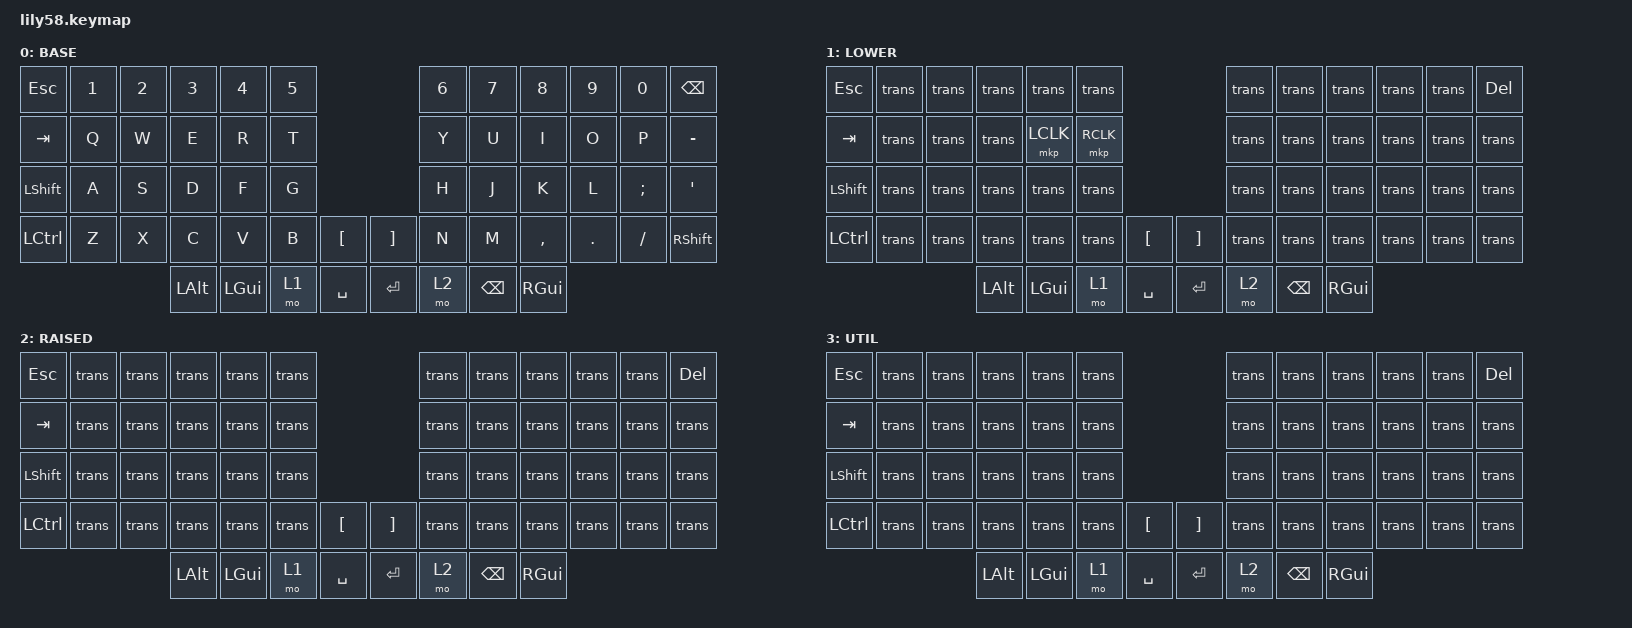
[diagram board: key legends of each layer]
/*
 * Copyright (c) 2020 The ZMK Contributors
 *
 * SPDX-License-Identifier: MIT
 */

#include <behaviors.dtsi>
#include <dt-bindings/zmk/keys.h>
#include <dt-bindings/zmk/bt.h>
#include <dt-bindings/zmk/ext_power.h>
#include <dt-bindings/zmk/pointing.h>

/ {
    keymap {
        compatible = "zmk,keymap";
        default_layer {
        display-name= "BASE";
// ------------------------------------------------------------------------------------------------------------
// |  ESC  |  1  |  2  |  3   |  4   |  5   |                   |  6   |  7    |  8    |  9   |   0   | BSPC  |
// |  TAB  |  Q  |  W  |  E   |  R   |  T   |                   |  Y   |  U    |  I    |  O   |   P   |   -   |
// |  SHFT |  A  |  S  |  D   |  F   |  G   |                   |  H   |  J    |  K    |  L   |   ;   |   '   |
// |  CTRL |  Z  |  X  |  C   |  V   |  B   |   "["  |  |  "]"  |  N   |  M    |  ,    |  .   |   /   | SHIFT |
//                     | ALT  | GUI  | LOWER|  SPACE |  | ENTER | RAISE| BSPC  | GUI   |
            bindings = <
&kp ESC   &kp N1 &kp N2 &kp N3   &kp N4   &kp N5                     &kp N6 &kp N7   &kp N8    &kp N9  &kp N0   &kp BSPC
&kp TAB   &kp Q  &kp W  &kp E    &kp R    &kp T                      &kp Y  &kp U    &kp I     &kp O   &kp P    &kp MINUS
&kp LSHFT &kp A  &kp S  &kp D    &kp F    &kp G                      &kp H  &kp J    &kp K     &kp L   &kp SEMI &kp SQT
&kp LCTRL &kp Z  &kp X  &kp C    &kp V    &kp B  &kp LBKT   &kp RBKT &kp N  &kp M    &kp COMMA &kp DOT &kp FSLH &kp RSHFT
                        &kp LALT &kp LGUI &mo 1  &kp SPACE  &kp RET  &mo 2  &kp BSPC &kp RGUI
            >;
        };

        lower_layer {
        display-name= "LOWER";
// ------------------------------------------------------------------------------------------------------------
// |  ESC  |     |     |      |      |      |                   |      |       |       |      |       |  DEL  |
// |  TAB  |     |     |      |      |      |                   |      |       |       |      |       |       |
// |  SHFT |     |     |      |      |      |                   |      |       |       |      |       |       |
// |  CTRL |     |     |      |      |      |   "["  |  |  "]"  |      |       |       |      |       |       |
//                     | ALT  | GUI  | LOWER|  SPACE |  | ENTER | RAISE| BSPC  | GUI   |
            bindings = <
&kp ESC   &kp trans  &kp trans  &kp trans  &kp trans  &kp trans                      &kp trans  &kp trans  &kp trans  &kp trans  &kp trans  &kp DEL
&kp TAB   &kp trans  &kp trans  &kp trans  &mkp LCLK  &mkp RCLK                      &kp trans  &kp trans  &kp trans  &kp trans  &kp trans  &kp trans
&kp LSHFT &kp trans  &kp trans  &kp trans  &kp trans  &kp trans                      &kp trans  &kp trans  &kp trans  &kp trans  &kp trans  &kp trans
&kp LCTRL &kp trans  &kp trans  &kp trans  &kp trans  &kp trans  &kp LBKT   &kp RBKT &kp trans  &kp trans  &kp trans  &kp trans  &kp trans   &kp trans
                        &kp LALT &kp LGUI &mo 1  &kp SPACE  &kp RET  &mo 2  &kp BSPC &kp RGUI
            >;
        };

        raise_layer {
        display-name= "RAISED";
// ------------------------------------------------------------------------------------------------------------
// |  ESC  |     |     |      |      |      |                   |      |       |       |      |       |  DEL  |
// |  TAB  |     |     |      |      |      |                   |      |       |       |      |       |       |
// |  SHFT |     |     |      |      |      |                   |      |       |       |      |       |       |
// |  CTRL |     |     |      |      |      |   "["  |  |  "]"  |      |       |       |      |       |       |
//                     | ALT  | GUI  | LOWER|  SPACE |  | ENTER | RAISE| BSPC  | GUI   |
            bindings = <
&kp ESC   &kp trans  &kp trans  &kp trans  &kp trans  &kp trans                      &kp trans  &kp trans  &kp trans  &kp trans  &kp trans  &kp DEL
&kp TAB   &kp trans  &kp trans  &kp trans  &kp trans  &kp trans                      &kp trans  &kp trans  &kp trans  &kp trans  &kp trans  &kp trans
&kp LSHFT &kp trans  &kp trans  &kp trans  &kp trans  &kp trans                      &kp trans  &kp trans  &kp trans  &kp trans  &kp trans  &kp trans
&kp LCTRL &kp trans  &kp trans  &kp trans  &kp trans  &kp trans  &kp LBKT   &kp RBKT &kp trans  &kp trans  &kp trans  &kp trans  &kp trans   &kp trans
                        &kp LALT &kp LGUI &mo 1  &kp SPACE  &kp RET  &mo 2  &kp BSPC &kp RGUI
            >;
        };

        util_layer {
        display-name= "UTIL";
// ------------------------------------------------------------------------------------------------------------
// |  ESC  |     |     |      |      |      |                   |      |       |       |      |       |  DEL  |
// |  TAB  |     |     |      |      |      |                   |      |       |       |      |       |       |
// |  SHFT |     |     |      |      |      |                   |      |       |       |      |       |       |
// |  CTRL |     |     |      |      |      |   "["  |  |  "]"  |      |       |       |      |       |       |
//                     | ALT  | GUI  | LOWER|  SPACE |  | ENTER | RAISE| BSPC  | GUI   |
            bindings = <
&kp ESC   &kp trans  &kp trans  &kp trans  &kp trans  &kp trans                      &kp trans  &kp trans  &kp trans  &kp trans  &kp trans  &kp DEL
&kp TAB   &kp trans  &kp trans  &kp trans  &kp trans  &kp trans                      &kp trans  &kp trans  &kp trans  &kp trans  &kp trans  &kp trans
&kp LSHFT &kp trans  &kp trans  &kp trans  &kp trans  &kp trans                      &kp trans  &kp trans  &kp trans  &kp trans  &kp trans  &kp trans
&kp LCTRL &kp trans  &kp trans  &kp trans  &kp trans  &kp trans  &kp LBKT   &kp RBKT &kp trans  &kp trans  &kp trans  &kp trans  &kp trans   &kp trans
                        &kp LALT &kp LGUI &mo 1  &kp SPACE  &kp RET  &mo 2  &kp BSPC &kp RGUI
            >;
        };
    };
};
